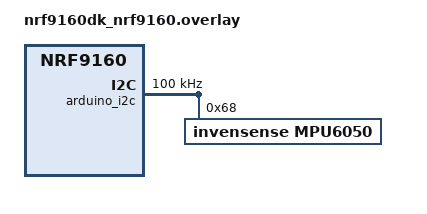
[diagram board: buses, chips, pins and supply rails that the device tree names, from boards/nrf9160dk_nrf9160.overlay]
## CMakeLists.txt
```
cmake_minimum_required(VERSION 3.20.0)

if(DEFINED WEST_PYTHON)
  set(Python3_EXECUTABLE ${WEST_PYTHON} CACHE FILEPATH "Python used by west" FORCE)
endif()

find_package(Zephyr REQUIRED HINTS $ENV{ZEPHYR_BASE})
project(bikeshare_firmware)

target_sources(app PRIVATE
	src/main.c
	src/button.c
	src/channels.c
	src/config.c
	src/shell.c
	src/state.c
	src/led.c
	src/lte.c
	src/mqtt_client.c
	src/sensor.c
	src/gnss.c
	src/telemetry.c
)

target_include_directories(app PRIVATE include)
```

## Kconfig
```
# Copyright (c) 2026 Bikeshare Contributors
#
# SPDX-License-Identifier: Apache-2.0

source "Kconfig.zephyr"

config APP_VERSION
	string "Application version"
	default "0.4.0"
	help
	  Firmware version string reported at boot and used for telemetry.

config BIKE_MQTT_RX_BUFFER_SIZE
	int "MQTT RX buffer size"
	default 512
	help
	  Receive buffer size used by the raw Zephyr MQTT client.

config BIKE_MQTT_TX_BUFFER_SIZE
	int "MQTT TX buffer size"
	default 512
	help
	  Transmit buffer size used by the raw Zephyr MQTT client.

config BIKE_MQTT_PAYLOAD_BUFFER_SIZE
	int "MQTT command payload log buffer size"
	default 256
	help
	  Maximum number of payload bytes copied before logging a command.

config BIKE_MQTT_RECONNECT_INITIAL_MS
	int "MQTT reconnect initial backoff in milliseconds"
	default 5000
	help
	  First retry delay after an MQTT connection attempt or session fails.

config BIKE_MQTT_RECONNECT_MAX_MS
	int "MQTT reconnect maximum backoff in milliseconds"
	default 300000
	help
	  Maximum retry delay while MQTT remains enabled.

config BIKE_MQTT_SECURE_DEFAULT
	bool "Use secure MQTT transport by default"
	default y
	help
	  Prefer TLS MQTT for production broker connections. Port 1883 still
	  forces insecure transport for public broker bring-up.

config BIKE_MQTT_TLS_SEC_TAG
	int "MQTT TLS security tag"
	default 42
	help
	  nRF modem security tag containing the broker CA certificate.

config BIKE_MQTT_THREAD_STACK_SIZE
	int "MQTT worker thread stack size"
	default 4096
	help
	  Stack size for the MQTT socket poll and keepalive worker.

config BIKE_MQTT_THREAD_PRIORITY
	int "MQTT worker thread priority"
	default 7
	help
	  Priority for the MQTT socket poll and keepalive worker.

config BIKE_TELEMETRY_PERIOD_SECONDS
	int "Telemetry publish period in seconds"
	default 10
	help
	  Period used by the telemetry work item to publish samples on zbus.

config BIKE_TELEMETRY_MAX_QUIET_SECONDS
	int "Maximum time without publishing telemetry, in seconds"
	default 0
	help
	  Telemetry publishes once per new GNSS fix and stays quiet in between
	  so the LTE radio can idle and GNSS can re-acquire on shared-radio
	  modems. This caps that quiet time: if no new fix arrives within this
	  many seconds (e.g. indoors), a liveness sample is published anyway so
	  the backend keeps hearing from the bike. Set to 0 to only publish on
	  new fixes (no liveness sample).

config BIKE_GNSS
	bool "Enable best-effort GNSS sampling"
	default n
	depends on NRF_MODEM_LIB
	help
	  Enable direct nRF modem GNSS sampling for nRF9160 targets. The module
	  starts from background work and keeps reporting no-fix telemetry if GNSS
	  cannot start or has not acquired a fix.

config BIKE_GNSS_FIX_MAX_AGE_SECONDS
	int "Maximum age of a retained GNSS fix, in seconds"
	default 60
	depends on BIKE_GNSS
	help
	  Keep reporting the last valid GNSS fix for up to this many seconds
	  when newer samples have no fix, so brief LTE-induced GNSS outages do
	  not flap telemetry between a position and none.

config BIKE_GNSS_FIX_INTERVAL_SECONDS
	int "GNSS fix interval in seconds"
	default 10
	depends on BIKE_GNSS
	help
	  Time between GNSS fixes. Use 1 for continuous navigation mode, or 10
	  or more for periodic navigation mode.

config BIKE_GNSS_FIX_RETRY_SECONDS
	int "GNSS fix retry timeout in seconds"
	default 30
	depends on BIKE_GNSS
	help
	  Maximum time GNSS should search for a fix during each periodic window.

config BIKE_GNSS_LOW_ACCURACY
	bool "Allow low-accuracy GNSS fixes"
	default n
	depends on BIKE_GNSS
	help
	  Allow the modem GNSS stack to report low-accuracy fixes when a normal
	  accuracy fix is not available.

config BIKE_GNSS_PRIORITY_MODE
	bool "Prioritize GNSS over LTE"
	default y
	depends on BIKE_GNSS
	help
	  Enable modem GNSS priority mode so GNSS can get priority over LTE when
	  searching for a fix.
```

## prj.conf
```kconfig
CONFIG_LOG=y
CONFIG_LOG_DEFAULT_LEVEL=3

CONFIG_CONSOLE=y
CONFIG_PRINTK=y
CONFIG_LOG_PRINTK=y

# Shell via UART
CONFIG_SHELL=y
CONFIG_SHELL_BACKEND_SERIAL=y
CONFIG_SHELL_LOG_BACKEND=y

# zbus
CONFIG_ZBUS=y

# JSON command parsing
CONFIG_JSON_LIBRARY=y

# Settings
CONFIG_SETTINGS=y
CONFIG_SETTINGS_RUNTIME=y
```

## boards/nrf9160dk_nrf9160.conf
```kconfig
# nRF9160 DK hardware scaffold.
#
# This configuration mirrors the non-secure board configuration so the
# hardware demo can also run on nrf9160dk/nrf9160 while the NCS/TF-M workspace
# setup is being finalized.

# Hardware shell/log console.
CONFIG_SERIAL=y
CONFIG_UART_CONSOLE=y
CONFIG_SHELL_BACKEND_SERIAL=y

# Board peripherals used by LED, button, and motion modules.
CONFIG_GPIO=y

# GY-521 / MPU-6050 motion sensor on the Arduino I2C header.
CONFIG_I2C=y
CONFIG_SENSOR=y
CONFIG_MPU6050_TRIGGER_NONE=y

# Persistent Settings backend for hardware configuration.
CONFIG_SETTINGS_RUNTIME=n
CONFIG_FLASH=y
CONFIG_FLASH_PAGE_LAYOUT=y
CONFIG_FLASH_MAP=y
CONFIG_NVS=y
CONFIG_SETTINGS_NVS=y
CONFIG_SETTINGS_NVS_SECTOR_COUNT=4
CONFIG_MPU_ALLOW_FLASH_WRITE=y

# Generic network/MQTT libraries for the future hardware transport modules.
CONFIG_NETWORKING=y
CONFIG_NET_IPV4=y
CONFIG_NET_TCP=y
CONFIG_NET_SOCKETS=y
CONFIG_MQTT_LIB=y
CONFIG_MQTT_LIB_TLS=y
CONFIG_TEST_RANDOM_GENERATOR=y
CONFIG_HEAP_MEM_POOL_SIZE=8192
```

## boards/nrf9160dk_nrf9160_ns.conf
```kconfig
# nRF9160 DK hardware target.

# shell & log
CONFIG_SERIAL=y
CONFIG_UART_CONSOLE=y
CONFIG_SHELL_BACKEND_SERIAL=y

# Board peripherals
CONFIG_GPIO=y

# MPU-6050
# CONFIG_I2C=y
# CONFIG_SENSOR=y
# CONFIG_MPU6050_TRIGGER_NONE=y

# Settings
CONFIG_SETTINGS_RUNTIME=n
CONFIG_FLASH=y
CONFIG_FLASH_PAGE_LAYOUT=y
CONFIG_FLASH_MAP=y
CONFIG_NVS=y
CONFIG_SETTINGS_NVS=y
CONFIG_SETTINGS_NVS_SECTOR_COUNT=4
CONFIG_MPU_ALLOW_FLASH_WRITE=y

# LTE
CONFIG_NRF_MODEM_LIB=y
CONFIG_LTE_LINK_CONTROL=y
CONFIG_PDN=y
CONFIG_PDN_ESM_STRERROR=y
CONFIG_MODEM_INFO=y
CONFIG_NET_SOCKETS_OFFLOAD=y
CONFIG_MAIN_STACK_SIZE=4096
CONFIG_SYSTEM_WORKQUEUE_STACK_SIZE=4096
CONFIG_LTE_NETWORK_MODE_LTE_M_GPS=y

# GNSS
CONFIG_BIKE_GNSS=y
CONFIG_MODEM_ANTENNA=y
# Publish once per new fix; if GNSS can't fix, still report every 120 s.
CONFIG_BIKE_TELEMETRY_MAX_QUIET_SECONDS=120

# MQTT libraries
CONFIG_NETWORKING=y
CONFIG_NET_IPV4=y
CONFIG_NET_TCP=y
CONFIG_NET_SOCKETS=y
CONFIG_MQTT_LIB=y
CONFIG_MQTT_LIB_TLS=y
CONFIG_MQTT_KEEPALIVE=300
CONFIG_TEST_RANDOM_GENERATOR=y
CONFIG_HEAP_MEM_POOL_SIZE=16384

# External Antenna
# CONFIG_MODEM_ANTENNA=y #  Use modem antenna library
# CONFIG_MODEM_ANTENNA_GNSS_ONBOARD=n # Disable onboard antenna
# CONFIG_MODEM_ANTENNA_GNSS_EXTERNAL=y # Enable external antenna
# CONFIG_MODEM_ANTENNA_AT_COEX0="AT%XCOEX0" # Disable onboard LNA
```

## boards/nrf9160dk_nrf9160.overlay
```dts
/ {
	chosen {
		zephyr,settings-partition = &storage_partition;
	};
};

&arduino_i2c {
	status = "okay";
	clock-frequency = <I2C_BITRATE_STANDARD>;

	mpu6050@68 {
		compatible = "invensense,mpu6050";
		reg = <0x68>;
		status = "okay";
	};
};
```

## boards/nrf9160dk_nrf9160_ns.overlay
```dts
/ {
	chosen {
		zephyr,settings-partition = &storage_partition;
	};
};

&arduino_i2c {
	status = "okay";
	clock-frequency = <I2C_BITRATE_STANDARD>;

	mpu6050@68 {
		compatible = "invensense,mpu6050";
		reg = <0x68>;
		status = "disabled";
	};
};
```

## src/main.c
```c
/*
 * Copyright (c) 2026 Bikeshare Contributors
 *
 * SPDX-License-Identifier: Apache-2.0
 */

/**
 * @file
 * @brief Application entry point.
 *
 * @authors ruantmelo@gmail.com & vcn0510@gmail.com
 */

#include <zephyr/kernel.h>
#include <zephyr/logging/log.h>
#include <zephyr/sys/printk.h>

#include "button.h"
#include "config.h"
#include "gnss.h"
#include "led.h"
#include "lte.h"
#include "mqtt_client.h"
#include "sensor.h"
#include "state.h"
#include "telemetry.h"

LOG_MODULE_REGISTER(bikeshare, LOG_LEVEL_INF);

static void print_bike_banner(void);

int main(void)
{
	print_bike_banner();
	LOG_INF("Version: %s", CONFIG_APP_VERSION);

	/* Initialize modules */
	bike_config_init();
	bike_lte_init();
	bike_mqtt_init();
	bike_gnss_init();
	led_status_init();
	button_input_init();
	bike_state_init();
	bike_telemetry_init();
	motion_sensor_init();

	if (bike_config_is_valid(bike_config_get())) {
		(void)bike_lte_connect();
		(void)bike_mqtt_connect();
	}

	return 0;
}

static void print_bike_banner(void)
{
	printk("\n");
	printk("⠀⠀⠀⠀⠀⠀⠀⠀⠀⠛⠻⠗⢶⣶⣶⣦⣀⡀⠀⠀⠀⠀⠀⠀⠀⠀\n");
	printk("⠀⠀⠀⠀⣀⡀⣤⡄⠀⠀⠀⠀⢸⠟⡄⠀⠘⠉⠛⠀⠀⠀⠀⠀⠀⠀\n");
	printk("⠀⠀⠀⠀⠉⢻⠇⠀⠀⠀⡀⢴⠝⣄⣷⣀⠀⠀⠀ bikeshare.\n");
	printk("⠀⠀⠀⠀⠀⠈⣦⠀⡠⡪⢲⠃⡜⢉⣧⣿⣧⣤⣤⣤⣄⡀⠀⠀⠀⠀\n");
	printk("⠀⢀⣠⣴⣤⣴⣿⡕⠈⡠⣡⠌⠀⣼⢿⠿⢿⡏⠉⠛⠻⣿⣷⣤⠀⠀\n");
	printk("⢠⡾⠁⡴⠋⢿⣷⠃⡔⣱⠃⢀⣾⡟⢻⡆⠘⣷⠀⠀⠀⠀⠻⣿⣷⡀\n");
	printk("⣸⢁⣾⣅⣀⡜⢻⡜⡠⠁⠀⣼⣿⠀⠘⣿⣴⣻⡶⡄⠀⠀⠀⢹⣿⣧\n");
	printk("⢻⡘⢻⠀⠈⣿⣿⠗⠉⠀⠀⢿⣇⠀⠀⠈⣿⠛⢃⡇⠀⠀⠀⢸⣿⣿\n");
	printk("⠈⢷⣧⣨⣾⣯⡿⠀⠀⠀⠀⠸⣿⡄⠀⠀⠈⠉⠉⠀⠀⠀⢀⣿⣿⡏\n");
	printk("⠀⠀⠈⠉⠀⠀⠀⠀⠀⠀⠀⠀⠹⣿⣦⣀⠀⠀⠀⠀⢀⣠⣿⣿⠟⠀\n");
	printk("⠀⠀⠀⠀⠀⠀⠀⠀⠀⠀⠀⠀⠀⠈⠙⠿⣿⣶⣶⣿⣿⠿⠛⠁⠀⠀\n");
	printk("\n");
}
```

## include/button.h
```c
/*
 * Copyright (c) 2026 Bikeshare Contributors
 *
 * SPDX-License-Identifier: Apache-2.0
 */

/**
 * @file
 * @brief Physical button input handling.
 *
 * Debounces the physical button (devicetree alias `sw0`) and publishes
 * press events on @ref button_event_chan.
 */

#pragma once

#include <stdint.h>

/** Minimum time between two accepted button presses, in milliseconds. */
#define BUTTON_INPUT_DEBOUNCE_MS 200

/**
 * @brief Initialize the button input module.
 *
 * Configures the GPIO interrupt for the physical button, if available in
 * the devicetree. If no button is available, the module still initializes
 * successfully but never publishes press events on its own.
 *
 * @retval 0 on success.
 * @retval -ENODEV if the configured GPIO device is not ready.
 * @return Negative errno code on other failures.
 */
int button_input_init(void);

/**
 * @brief Publish a button press event, bypassing debounce.
 *
 * @param uptime_ms Timestamp of the press, in milliseconds since boot.
 *
 * @return 0 on success, negative errno code on failure.
 */
int button_input_publish_press(int64_t uptime_ms);

/**
 * @brief Publish a button press event, applying debounce.
 *
 * Presses that occur less than @ref BUTTON_INPUT_DEBOUNCE_MS after the
 * last accepted press are rejected.
 *
 * @param uptime_ms Timestamp of the press, in milliseconds since boot.
 *
 * @retval 0 on success.
 * @retval -EALREADY if the press was rejected due to debounce.
 * @return Negative errno code on other failures.
 */
int button_input_publish_press_debounced(int64_t uptime_ms);

/**
 * @brief Reset the debounce timer.
 *
 * The next call to button_input_publish_press_debounced() is guaranteed
 * to be accepted regardless of timing.
 */
void button_input_reset_debounce(void);
```

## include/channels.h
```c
/*
 * Copyright (c) 2026 Bikeshare Contributors
 *
 * SPDX-License-Identifier: Apache-2.0
 */

/**
 * @file
 * @brief zbus channel and message definitions shared across the app.
 */

#pragma once

#include <stdbool.h>
#include <stdint.h>

#include <zephyr/zbus/zbus.h>

#include "config.h"
#include "state.h"

/** Maximum length, including the terminator, of a rental ID string. */
#define BIKE_RENTAL_ID_MAX_LEN 32

/** Backend commands carried by @ref backend_command_chan. */
enum bike_backend_command_type {
	BIKE_BACKEND_RENT_AUTHORIZE,
	BIKE_BACKEND_RENT_CANCEL,
};

/** State transition events that can be surfaced to the backend. */
enum bike_state_event {
	BIKE_STATE_EVENT_NONE,
	BIKE_STATE_EVENT_BICYCLE_ONLINE,
	BIKE_STATE_EVENT_RESERVATION_EXPIRED,
	BIKE_STATE_EVENT_RIDE_STARTED,
	BIKE_STATE_EVENT_RIDE_ENDED,
};

/** Message published on @ref button_event_chan for each button press. */
struct bike_button_event_msg {
	/** Timestamp of the press, in milliseconds since boot. */
	int64_t uptime_ms;
};

/** Message published on @ref backend_command_chan. */
struct bike_backend_command_msg {
	/** Command requested by the backend. */
	enum bike_backend_command_type type;
	/** Rental ID the command applies to. */
	char rental_id[BIKE_RENTAL_ID_MAX_LEN];
};

/** Message published on @ref bike_state_chan whenever the state changes. */
struct bike_state_msg {
	/** New state value. */
	enum bike_state_value state;
	/** Backend-facing event associated with this transition, if any. */
	enum bike_state_event event;
	/** Rental ID associated with the state, empty if there is none. */
	char rental_id[BIKE_RENTAL_ID_MAX_LEN];
	/** Timestamp of the transition, in milliseconds since boot. */
	int64_t updated_at_ms;
};

/** Message published on @ref telemetry_sample_chan. */
struct telemetry_sample_msg {
	/** Bike identifier. */
	char bike_id[BIKE_ID_MAX_LEN];
	/** Bike state at the time of the sample. */
	enum bike_state_value state;
	/** Rental ID associated with the sample, empty if there is none. */
	char rental_id[BIKE_RENTAL_ID_MAX_LEN];
	/** Timestamp of the sample, in milliseconds since boot. */
	int64_t uptime_ms;
	/** True if speed is available. */
	bool speed_valid;
	/** Ground speed in milli-m/s when @ref speed_valid is true. */
	int32_t speed_milli_m_s;
	/** True if the GNSS fix backing this sample is valid. */
	bool gnss_fix_valid;
	/** Latitude in microdegrees when @ref gnss_fix_valid is true. */
	int32_t gnss_latitude_microdegrees;
	/** Longitude in microdegrees when @ref gnss_fix_valid is true. */
	int32_t gnss_longitude_microdegrees;
	/** Altitude above WGS-84 ellipsoid in millimeters when valid. */
	int32_t gnss_altitude_mm;
	/** Horizontal accuracy in millimeters when valid, or 0 if unknown. */
	uint32_t gnss_accuracy_mm;
	/** True if the motion sample backing this sample is valid. */
	bool motion_valid;
	/** True if the motion sample indicates the bike is moving. */
	bool motion_moving;
	/** Acceleration on each axis, in milli-m/s^2. */
	int32_t motion_accel_milli_ms2[3];
	/** Angular velocity on each axis, in milli-rad/s. */
	int32_t motion_gyro_milli_rad_s[3];
	/** Die temperature, in milli-degrees Celsius. */
	int32_t motion_temp_milli_c;
};

/** Published on each debounced physical button press. */
ZBUS_CHAN_DECLARE(button_event_chan);
/** Published by the backend to request rental authorization or cancellation. */
ZBUS_CHAN_DECLARE(backend_command_chan);
/** Published on every bike state transition. */
ZBUS_CHAN_DECLARE(bike_state_chan);
/** Published with periodic telemetry samples. */
ZBUS_CHAN_DECLARE(telemetry_sample_chan);
```

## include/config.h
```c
/*
 * Copyright (c) 2026 Bikeshare Contributors
 *
 * SPDX-License-Identifier: Apache-2.0
 */

/**
 * @file
 * @brief Persistent bike configuration.
 *
 * Stores the bike identity, backend credentials and MQTT/APN settings
 * in the Zephyr settings subsystem, under the "bike" key.
 */

#pragma once

#include <stdbool.h>
#include <stdint.h>

/** Maximum length, including the terminator, of the bike ID string. */
#define BIKE_ID_MAX_LEN             32
/** Maximum length, including the terminator, of the device token string. */
#define BIKE_DEVICE_TOKEN_MAX_LEN   128
/** Maximum length, including the terminator, of the MQTT host string. */
#define BIKE_MQTT_HOST_MAX_LEN      128
/** Maximum length, including the terminator, of the MQTT port string form. */
#define BIKE_MQTT_PORT_MAX_LEN      6
/** Maximum length, including the terminator, of the APN string. */
#define BIKE_APN_MAX_LEN            64

/** Persistent bike configuration. */
struct bike_config {
	/** Bike identifier. */
	char id[BIKE_ID_MAX_LEN];
	/** Authentication token used with the backend. */
	char device_token[BIKE_DEVICE_TOKEN_MAX_LEN];
	/** Hostname or IP address of the MQTT broker. */
	char mqtt_host[BIKE_MQTT_HOST_MAX_LEN];
	/** TCP port of the MQTT broker. */
	uint16_t mqtt_port;
	/** APN used for the cellular connection. */
	char apn[BIKE_APN_MAX_LEN];
};

/**
 * @brief Initialize the configuration module.
 *
 * Initializes the settings subsystem and loads any previously saved
 * configuration values.
 *
 * @return 0 on success, negative errno code on failure.
 */
int bike_config_init(void);

/**
 * @brief Get a read-only pointer to the current configuration.
 *
 * @return Pointer to the current configuration.
 */
const struct bike_config *bike_config_get(void);

/**
 * @brief Get the configured bike ID.
 *
 * @return Pointer to the bike ID string, empty if unset.
 */
const char *bike_config_get_id(void);

/**
 * @brief Get the configured device token.
 *
 * @return Pointer to the device token string, empty if unset.
 */
const char *bike_config_get_device_token(void);

/**
 * @brief Get the configured MQTT broker host.
 *
 * @return Pointer to the MQTT host string, empty if unset.
 */
const char *bike_config_get_mqtt_host(void);

/**
 * @brief Get the configured MQTT broker port.
 *
 * @return MQTT port, 0 if unset.
 */
uint16_t bike_config_get_mqtt_port(void);

/**
 * @brief Get the configured APN.
 *
 * @return Pointer to the APN string, empty if unset.
 */
const char *bike_config_get_apn(void);

/**
 * @brief Check whether a configuration has every required field set.
 *
 * @param config Configuration to validate.
 *
 * @return true if @p config is non-NULL and fully populated, false
 *         otherwise.
 */
bool bike_config_is_valid(const struct bike_config *config);

/**
 * @brief Parse and validate an MQTT port string.
 *
 * @param value String to parse, must contain only decimal digits.
 * @param port  Destination for the parsed port. Must not be NULL.
 *
 * @retval 0 on success.
 * @retval -EINVAL if @p value is missing or not a valid port number.
 */
int bike_config_parse_mqtt_port(const char *value, uint16_t *port);

/**
 * @brief Set and persist the bike ID.
 *
 * @param id New bike ID. Must be non-empty and fit within
 *           @ref BIKE_ID_MAX_LEN.
 *
 * @return 0 on success, negative errno code on failure.
 */
int bike_config_set_id(const char *id);

/**
 * @brief Set and persist the device token.
 *
 * @param token New device token. Must be non-empty and fit within
 *              @ref BIKE_DEVICE_TOKEN_MAX_LEN.
 *
 * @return 0 on success, negative errno code on failure.
 */
int bike_config_set_device_token(const char *token);

/**
 * @brief Set and persist the MQTT broker host.
 *
 * @param host New MQTT host. Must be non-empty and fit within
 *             @ref BIKE_MQTT_HOST_MAX_LEN.
 *
 * @return 0 on success, negative errno code on failure.
 */
int bike_config_set_mqtt_host(const char *host);

/**
 * @brief Set and persist the MQTT broker port.
 *
 * @param port New MQTT port, must be non-zero.
 *
 * @return 0 on success, negative errno code on failure.
 */
int bike_config_set_mqtt_port(uint16_t port);

/**
 * @brief Set and persist the APN.
 *
 * @param apn New APN. Must be non-empty and fit within
 *            @ref BIKE_APN_MAX_LEN.
 *
 * @return 0 on success, negative errno code on failure.
 */
int bike_config_set_apn(const char *apn);
```

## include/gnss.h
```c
/*
 * Copyright (c) 2026 Bikeshare Contributors
 *
 * SPDX-License-Identifier: Apache-2.0
 */

/**
 * @file
 * @brief Best-effort GNSS fix cache.
 */

#pragma once

#include <stdbool.h>
#include <stdint.h>

/* Single fallback shared by gnss.c and tests built without CONFIG_BIKE_GNSS. */
#ifndef CONFIG_BIKE_GNSS_FIX_MAX_AGE_SECONDS
#define CONFIG_BIKE_GNSS_FIX_MAX_AGE_SECONDS 60
#endif

/** Latest cached GNSS status and fix. */
struct bike_gnss_fix {
	/** True when the target includes modem GNSS support. */
	bool supported;
	/** True after the background GNSS start path succeeds. */
	bool running;
	/** True when latitude, longitude, and altitude contain a valid fix. */
	bool valid;
	/**
	 * True when this is a previous fix retained because newer samples
	 * have no fix; uptime_ms then dates the original fix, and running
	 * and last_error do not reflect the receiver's current health.
	 */
	bool retained;
	/** Timestamp of the cached status, in milliseconds since boot. */
	int64_t uptime_ms;
	/** Latitude in microdegrees when @ref valid is true. */
	int32_t latitude_microdegrees;
	/** Longitude in microdegrees when @ref valid is true. */
	int32_t longitude_microdegrees;
	/** Altitude above WGS-84 ellipsoid in millimeters when valid. */
	int32_t altitude_mm;
	/** Horizontal accuracy in millimeters when valid, or 0 if unknown. */
	uint32_t accuracy_mm;
	/** Ground speed in milli-m/s when valid. */
	int32_t speed_milli_m_s;
	/** Number of satellites used in the latest valid fix. */
	uint8_t satellites_used;
	/** Last GNSS API error, or 0 when the latest operation succeeded. */
	int last_error;
};

/**
 * @brief Initialize GNSS sampling.
 *
 * Starts the modem GNSS path from background work when supported. Unsupported
 * targets remain initialized with an explicit no-fix status.
 */
void bike_gnss_init(void);

/**
 * @brief Retrieve the latest cached GNSS status.
 *
 * @param fix Destination for the latest cached status. Must not be NULL.
 *
 * @return true if @p fix contains a valid position fix, false otherwise.
 */
bool bike_gnss_get_latest(struct bike_gnss_fix *fix);

/**
 * @brief Store a GNSS status sample.
 *
 * This helper is public so tests can exercise telemetry transitions without
 * real modem hardware.
 */
void bike_gnss_store_fix(const struct bike_gnss_fix *fix);
```

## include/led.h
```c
/*
 * Copyright (c) 2026 Bikeshare Contributors
 *
 * SPDX-License-Identifier: Apache-2.0
 */

/**
 * @file
 * @brief LED status indicator.
 *
 * Drives the status LED (devicetree alias `led0`) with a pattern derived
 * from the current @ref bike_state_value.
 */

#pragma once

#include "state.h"

/** Blink/solid patterns the status LED can display. */
enum led_status_pattern {
	LED_STATUS_OFF,
	LED_STATUS_SOLID_ON,
	LED_STATUS_BLINK_SLOW,
	LED_STATUS_BLINK_FAST,
	LED_STATUS_CHASE,
	LED_STATUS_ERROR,
};

/**
 * @brief Initialize the LED status module.
 *
 * Configures the status LED GPIO, if available in the devicetree, and
 * applies the pattern matching the current bike state.
 *
 * @retval 0 on success.
 * @retval -ENODEV if the configured GPIO device is not ready.
 * @return Negative errno code on other failures.
 */
int led_status_init(void);

/**
 * @brief Map a bike state to its corresponding LED pattern.
 *
 * @param state Bike state to map.
 *
 * @return LED pattern associated with @p state.
 */
enum led_status_pattern led_status_pattern_for_state(enum bike_state_value state);

/**
 * @brief Get the LED pattern currently being displayed.
 *
 * @return Current LED pattern.
 */
enum led_status_pattern led_status_get_pattern(void);

/**
 * @brief Check whether the status LED is currently lit.
 *
 * @return true if the LED is on, false otherwise.
 */
bool led_status_is_on(void);

/**
 * @brief Get the human-readable name of an LED pattern.
 *
 * @param pattern Pattern to describe.
 *
 * @return Static string naming @p pattern.
 */
const char *led_status_pattern_name(enum led_status_pattern pattern);
```

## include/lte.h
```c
/*
 * Copyright (c) 2026 Bikeshare Contributors
 *
 * SPDX-License-Identifier: Apache-2.0
 */

/**
 * @file
 * @brief LTE modem bring-up and diagnostics.
 */

#pragma once

#include <stdbool.h>
#include <stdint.h>

#include "config.h"

/** Network registration state, mapped from the modem's registration status. */
enum bike_lte_registration {
	/** Not registered and not currently searching for a network. */
	BIKE_LTE_REG_NOT_REGISTERED,
	/** Actively searching for a network to attach to. */
	BIKE_LTE_REG_SEARCHING,
	/** Registered on the home network. */
	BIKE_LTE_REG_REGISTERED_HOME,
	/** Registered while roaming. */
	BIKE_LTE_REG_REGISTERED_ROAMING,
	/** Network refused the registration attempt. */
	BIKE_LTE_REG_DENIED,
	/** SIM/UICC failure prevented registration. */
	BIKE_LTE_REG_UICC_FAIL,
	/** Registration status could not be determined. */
	BIKE_LTE_REG_UNKNOWN,
};

/** Active radio access technology reported by the modem. */
enum bike_lte_mode {
	/** No access technology active (detached). */
	BIKE_LTE_MODE_NONE,
	/** LTE-M (LTE Cat-M1). */
	BIKE_LTE_MODE_LTEM,
	/** NB-IoT. */
	BIKE_LTE_MODE_NBIOT,
	/** Access technology could not be determined. */
	BIKE_LTE_MODE_UNKNOWN,
};

/** Latest cached LTE modem status. */
struct bike_lte_status {
	/** True when the target includes modem LTE support. */
	bool supported;
	/** True after bike_lte_init() has completed successfully. */
	bool initialized;
	/** True while attach is in progress but not yet fully connected. */
	bool connecting;
	/** True when registered (home or roaming) and the PDN is active. */
	bool connected;
	/** True when the default packet data network context is active. */
	bool pdn_active;
	/** Current network registration state. */
	enum bike_lte_registration registration;
	/** Current radio access technology. */
	enum bike_lte_mode mode;
	/** Configured access point name, empty when the default APN is used. */
	char apn[BIKE_APN_MAX_LEN];
	/** Last modem/API error, or 0 when the latest operation succeeded. */
	int last_error;
	/** Serving cell identifier from the most recent cell update. */
	uint32_t cell_id;
	/** Tracking area code from the most recent cell update. */
	uint32_t tac;
};

/**
 * @brief Initialize the LTE modem.
 *
 * Initializes the nRF modem library and registers the network and default
 * PDN event handlers. Safe to call more than once; later calls are no-ops.
 *
 * @return 0 on success, -ENOTSUP when the target lacks LTE support, or a
 *         negative errno on modem initialization failure.
 */
int bike_lte_init(void);

/**
 * @brief Start connecting to the LTE network.
 *
 * Initializes the modem if needed, applies the configured APN, and starts
 * an asynchronous network attach. Returns once the attach has been started;
 * completion is reported asynchronously via bike_lte_status_get(). A no-op
 * that returns success when already connected or connecting.
 *
 * @return 0 on success, -ENOTSUP when the target lacks LTE support, or a
 *         negative errno on failure.
 */
int bike_lte_connect(void);

/**
 * @brief Disconnect from the LTE network.
 *
 * Sets the modem to offline (functional mode) and clears the connection
 * state. Safe to call when not initialized.
 *
 * @return 0 on success, -ENOTSUP when the target lacks LTE support, or a
 *         negative errno on failure.
 */
int bike_lte_disconnect(void);

/**
 * @brief Retrieve the latest cached LTE status.
 *
 * @param status Destination for the current status. Ignored when NULL.
 */
void bike_lte_status_get(struct bike_lte_status *status);

/**
 * @brief Return a human-readable name for a registration state.
 *
 * @param registration Registration state to name.
 *
 * @return Static, null-terminated string; never NULL.
 */
const char *bike_lte_registration_name(enum bike_lte_registration registration);

/**
 * @brief Return a human-readable name for a radio access technology.
 *
 * @param mode Access technology to name.
 *
 * @return Static, null-terminated string; never NULL.
 */
const char *bike_lte_mode_name(enum bike_lte_mode mode);
```

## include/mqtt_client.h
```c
/*
 * Copyright (c) 2026 Bikeshare Contributors
 *
 * SPDX-License-Identifier: Apache-2.0
 */

/**
 * @file
 * @brief MQTT client bring-up and diagnostics.
 */

#pragma once

#include <stdbool.h>
#include <stdint.h>
#include <stddef.h>

#include "channels.h"
#include "config.h"

#define BIKE_MQTT_TOPIC_MAX_LEN 96

struct bike_mqtt_status {
	bool supported;
	bool initialized;
	bool enabled;
	bool connecting;
	bool connected;
	bool subscribed;
	bool secure;
	char broker_host[BIKE_MQTT_HOST_MAX_LEN];
	uint16_t broker_port;
	char command_topic[BIKE_MQTT_TOPIC_MAX_LEN];
	char telemetry_topic[BIKE_MQTT_TOPIC_MAX_LEN];
	char event_topic[BIKE_MQTT_TOPIC_MAX_LEN];
	int last_error;
	int disconnect_reason;
	uint32_t rx_count;
	uint32_t parse_error_count;
	uint32_t publish_count;
	uint32_t publish_error_count;
	uint32_t reconnect_count;
};

/**
 * @brief Initialize MQTT diagnostics state.
 *
 * This does not open a socket or start an automatic broker connection.
 *
 * @retval 0 on success.
 * @retval -ENOTSUP if MQTT socket support is not built in.
 */
int bike_mqtt_init(void);

/**
 * @brief Enable MQTT and request a broker connection.
 *
 * The worker connects only after the bike configuration is valid and LTE is
 * ready, when LTE support is present. A later broker disconnect is retried
 * with bounded backoff while MQTT remains enabled.
 *
 * @retval 0 on success or if a connection attempt is already active.
 * @retval -EINVAL if the bike configuration is incomplete.
 * @retval -ENOTSUP if MQTT socket support is not built in.
 */
int bike_mqtt_connect(void);

/**
 * @brief Disable MQTT and disconnect the active session.
 *
 * This is the manual-debug counterpart to @ref bike_mqtt_connect. It stops
 * reconnect attempts until MQTT is enabled again.
 *
 * @retval 0 on success or when no session is active.
 * @retval -ENOTSUP if MQTT socket support is not built in.
 * @return Negative errno from the MQTT stack on disconnect failure.
 */
int bike_mqtt_disconnect(void);

/**
 * @brief Probe plain TCP reachability to the configured MQTT broker.
 *
 * This intentionally skips TLS and MQTT. A successful probe means the modem
 * can open a TCP connection to the configured host and port.
 *
 * @retval 0 on successful TCP connect.
 * @retval -EINVAL if the broker host or port is not configured.
 * @retval -ENETUNREACH if LTE is not ready for sockets.
 * @retval -ENOTSUP if MQTT socket support is not built in.
 * @return Negative errno from DNS, socket creation, or TCP connect failure.
 */
int bike_mqtt_tcp_probe(void);

/**
 * @brief Copy the current MQTT status snapshot.
 *
 * @param status Destination for the copied status. NULL is ignored.
 */
void bike_mqtt_status_get(struct bike_mqtt_status *status);

/**
 * @brief Convert a stored MQTT error or errno value into a shell label.
 *
 * @param error Value from @ref bike_mqtt_status::last_error or
 *              @ref bike_mqtt_status::disconnect_reason.
 *
 * @return Static string naming the reason.
 */
const char *bike_mqtt_error_name(int error);

/**
 * @brief Build the backend command subscription topic for a bike.
 *
 * @param bike_id Configured bike identifier.
 * @param topic Destination buffer.
 * @param topic_len Size of @p topic in bytes.
 *
 * @retval 0 on success.
 * @retval -EINVAL if an argument is missing.
 * @retval -ENAMETOOLONG if @p topic is too small.
 */
int bike_mqtt_build_command_topic(const char *bike_id, char *topic,
				  size_t topic_len);

/**
 * @brief Build the telemetry publication topic for a bike.
 *
 * @param bike_id Configured bike identifier.
 * @param topic Destination buffer.
 * @param topic_len Size of @p topic in bytes.
 *
 * @retval 0 on success.
 * @retval -EINVAL if an argument is missing.
 * @retval -ENAMETOOLONG if @p topic is too small.
 */
int bike_mqtt_build_telemetry_topic(const char *bike_id, char *topic,
				    size_t topic_len);

/**
 * @brief Build the event publication topic for a bike.
 *
 * @param bike_id Configured bike identifier.
 * @param topic Destination buffer.
 * @param topic_len Size of @p topic in bytes.
 *
 * @retval 0 on success.
 * @retval -EINVAL if an argument is missing.
 * @retval -ENAMETOOLONG if @p topic is too small.
 */
int bike_mqtt_build_event_topic(const char *bike_id, char *topic,
				size_t topic_len);

/**
 * @brief Decode a backend command JSON payload.
 *
 * Supported payloads are compact JSON objects with `protocolVersion` set to
 * 1, `type` set to `rent_authorize` or `rent_cancel`, and a non-empty
 * `rental_id`.
 *
 * @param payload Mutable JSON buffer. Zephyr's JSON parser stores pointers
 *                into this buffer.
 * @param payload_len Number of bytes in @p payload.
 * @param msg Destination backend command message.
 *
 * @retval 0 on success.
 * @retval -EINVAL if required fields are missing.
 * @retval -ENAMETOOLONG if `rental_id` does not fit the zbus message.
 * @retval -ENOTSUP if the command type is unknown.
 * @return Negative parser error from the Zephyr JSON parser.
 */
int bike_mqtt_parse_command(char *payload, size_t payload_len,
			    struct bike_backend_command_msg *msg);

/**
 * @brief Parse a command payload and publish it to backend_command_chan.
 *
 * Invalid payloads update MQTT parse diagnostics and are not forwarded to the
 * state machine.
 *
 * @param payload Mutable JSON buffer.
 * @param payload_len Number of bytes in @p payload.
 *
 * @retval 0 on success.
 * @return Negative error from parsing or zbus publication.
 */
int bike_mqtt_handle_command_payload(char *payload, size_t payload_len);

/**
 * @brief Format a compact JSON telemetry publication.
 *
 * @param sample Telemetry sample to encode.
 * @param payload Destination buffer.
 * @param payload_len Size of @p payload in bytes.
 *
 * @return Number of bytes written, excluding the terminator.
 * @retval -EINVAL if an argument is missing.
 * @retval -ENAMETOOLONG if @p payload is too small.
 */
int bike_mqtt_format_telemetry_json(const struct telemetry_sample_msg *sample,
				    char *payload, size_t payload_len);

/**
 * @brief Format a compact JSON state event publication.
 *
 * @param msg State message to encode.
 * @param payload Destination buffer.
 * @param payload_len Size of @p payload in bytes.
 *
 * @return Number of bytes written, excluding the terminator.
 * @retval -EINVAL if an argument is missing.
 * @retval -ENAMETOOLONG if @p payload is too small.
 */
int bike_mqtt_format_state_event_json(const struct bike_state_msg *msg,
				      char *payload, size_t payload_len);

/**
 * @brief Format a compact JSON command rejection event.
 *
 * @param command Rejected command type string.
 * @param reason Protocol reason string.
 * @param payload Destination buffer.
 * @param payload_len Size of @p payload in bytes.
 *
 * @return Number of bytes written, excluding the terminator.
 * @retval -EINVAL if an argument is missing.
 * @retval -ENAMETOOLONG if @p payload is too small.
 */
int bike_mqtt_format_command_rejected_json(const char *command,
					   const char *reason,
					   char *payload,
					   size_t payload_len);
```

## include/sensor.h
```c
/*
 * Copyright (c) 2026 Bikeshare Contributors
 *
 * SPDX-License-Identifier: Apache-2.0
 */

/**
 * @file
 * @brief Motion sensor (MPU6050) sampling.
 *
 * Periodically samples the MPU6050 accelerometer/gyroscope, when present
 * in the devicetree, and caches the latest reading for retrieval.
 */

#pragma once

#include <stdbool.h>
#include <stdint.h>

/** Latest cached reading from the motion sensor. */
struct motion_sensor_sample {
	/** True if the sample was ever successfully populated. */
	bool valid;
	/** True if the sample indicates the bike is in motion. */
	bool moving;
	/** Timestamp of the sample, in milliseconds since boot. */
	int64_t uptime_ms;
	/** Acceleration on each axis, in milli-m/s^2. */
	int32_t accel_milli_ms2[3];
	/** Angular velocity on each axis, in milli-rad/s. */
	int32_t gyro_milli_rad_s[3];
	/** Die temperature, in milli-degrees Celsius. */
	int32_t die_temp_milli_c;
};

/**
 * @brief Initialize the motion sensor module.
 *
 * Starts periodic sampling if the MPU6050 is present and ready in the
 * devicetree; otherwise the module stays idle and
 * motion_sensor_get_latest() always reports an invalid sample.
 */
void motion_sensor_init(void);

/**
 * @brief Retrieve the latest cached motion sensor sample.
 *
 * @param sample Destination for the latest sample. Must not be NULL.
 *
 * @return true if @p sample was populated with a valid reading, false
 *         otherwise.
 */
bool motion_sensor_get_latest(struct motion_sensor_sample *sample);
```

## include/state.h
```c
/*
 * Copyright (c) 2026 Bikeshare Contributors
 *
 * SPDX-License-Identifier: Apache-2.0
 */

/**
 * @file
 * @brief Bike rental state machine.
 *
 * Tracks the bike's rental lifecycle (unregistered/available/reserved/
 * in-use/error) and reacts to backend commands and button presses
 * published on the zbus channels declared in channels.h.
 */

#pragma once

#include <stdbool.h>

/** Seconds a reservation is held before automatically expiring. */
#define BIKE_RESERVATION_TIMEOUT_SECONDS 60

/** Rental lifecycle states of the bike. */
enum bike_state_value {
	BIKE_STATE_UNREGISTERED,
	BIKE_STATE_AVAILABLE,
	BIKE_STATE_RESERVED,
	BIKE_STATE_IN_USE,
	BIKE_STATE_ERROR,
};

/**
 * @brief Initialize the bike state machine.
 *
 * Sets the initial state based on whether the current configuration is
 * valid, and publishes it on @ref bike_state_chan.
 *
 * @return 0 on success.
 */
int bike_state_init(void);

/**
 * @brief Get the current bike state.
 *
 * @return Current state value.
 */
enum bike_state_value bike_state_get(void);

/**
 * @brief Get the rental ID of the active reservation or trip.
 *
 * @return Pointer to the rental ID string, empty if there is none.
 */
const char *bike_state_get_rental_id(void);

/**
 * @brief Get the human-readable name of a state value.
 *
 * @param state State to describe.
 *
 * @return Static string naming @p state.
 */
const char *bike_state_name(enum bike_state_value state);

/**
 * @brief Re-evaluate the state after a configuration change.
 *
 * Moves between BIKE_STATE_UNREGISTERED and BIKE_STATE_AVAILABLE
 * depending on configuration validity. Has no effect while a rental is
 * reserved, in use, or in error.
 *
 * @return 0 on success.
 */
int bike_state_refresh_config(void);

/**
 * @brief Authorize a rental reservation.
 *
 * Only accepted while the bike is BIKE_STATE_AVAILABLE; transitions it
 * to BIKE_STATE_RESERVED and arms the reservation timeout.
 *
 * @param rental_id Rental identifier to associate with the reservation.
 *
 * @retval 0 on success.
 * @retval -EINVAL if @p rental_id is missing or too long.
 * @retval -EACCES if the bike is not currently available.
 */
int bike_state_authorize(const char *rental_id);

/**
 * @brief Cancel a reserved rental or active trip.
 *
 * Only accepted while the bike is BIKE_STATE_RESERVED or BIKE_STATE_IN_USE
 * and, if @p rental_id is given, matches the active rental.
 *
 * @param rental_id Rental identifier to cancel, or NULL/empty to cancel
 *                  the active reservation unconditionally.
 *
 * @retval 0 on success.
 * @retval -EINVAL if @p rental_id does not match the active rental.
 * @retval -EACCES if the bike does not have an active rental.
 */
int bike_state_cancel(const char *rental_id);

/**
 * @brief Handle a physical button press.
 *
 * Starts a trip when reserved, or ends the active trip when in use.
 *
 * @retval 0 on success.
 * @retval -EACCES if the button press is not valid in the current state.
 */
int bike_state_button_press(void);

/**
 * @brief Check whether the current configuration is valid.
 *
 * @return true if the configuration is valid, false otherwise.
 */
bool bike_state_is_config_valid(void);
```

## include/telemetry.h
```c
/*
 * Copyright (c) 2026 Bikeshare Contributors
 *
 * SPDX-License-Identifier: Apache-2.0
 */

/**
 * @file
 * @brief Periodic telemetry sample publication.
 */

#pragma once

#include <stdint.h>

#include "channels.h"
#include "gnss.h"
#include "sensor.h"

/** Initialize and start periodic telemetry publication. */
void bike_telemetry_init(void);

/**
 * @brief Fill a telemetry sample from explicit inputs.
 *
 * This isolates the testable formatting/copying logic from the periodic work
 * item and from GNSS hardware availability.
 */
void bike_telemetry_fill_sample(struct telemetry_sample_msg *sample,
				const char *bike_id,
				enum bike_state_value state,
				const char *rental_id,
				int64_t uptime_ms,
				const struct bike_gnss_fix *gnss,
				const struct motion_sensor_sample *motion);
```

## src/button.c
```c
/*
 * Copyright (c) 2026 Bikeshare Contributors
 *
 * SPDX-License-Identifier: Apache-2.0
 */

#include <errno.h>

#include <zephyr/devicetree.h>
#include <zephyr/kernel.h>
#include <zephyr/logging/log.h>
#include <zephyr/zbus/zbus.h>

#include "channels.h"
#include "button.h"

#if defined(CONFIG_GPIO) && DT_NODE_HAS_STATUS(DT_ALIAS(sw0), okay)
#include <zephyr/drivers/gpio.h>
#define BUTTON_INPUT_HAS_GPIO 1
#else
#define BUTTON_INPUT_HAS_GPIO 0
#endif

LOG_MODULE_REGISTER(button_input, LOG_LEVEL_INF);

#if BUTTON_INPUT_HAS_GPIO
static const struct gpio_dt_spec button = GPIO_DT_SPEC_GET(DT_ALIAS(sw0), gpios);
static struct gpio_callback button_cb;
#endif

static struct k_work button_work;
static int64_t last_published_press_ms = -BUTTON_INPUT_DEBOUNCE_MS;

int button_input_publish_press(int64_t uptime_ms)
{
	struct bike_button_event_msg msg = {
		.uptime_ms = uptime_ms,
	};

	return zbus_chan_pub(&button_event_chan, &msg, K_MSEC(100));
}

int button_input_publish_press_debounced(int64_t uptime_ms)
{
	if ((uptime_ms - last_published_press_ms) < BUTTON_INPUT_DEBOUNCE_MS) {
		LOG_WRN("Button ignored due to debounce");
		return -EALREADY;
	}

	int rc = button_input_publish_press(uptime_ms);

	if (!rc) {
		last_published_press_ms = uptime_ms;
	}

	return rc;
}

void button_input_reset_debounce(void)
{
	last_published_press_ms = -BUTTON_INPUT_DEBOUNCE_MS;
}

static void button_work_handler(struct k_work *work)
{
	int rc;

	ARG_UNUSED(work);

	rc = button_input_publish_press_debounced(k_uptime_get());
	if (rc) {
		LOG_WRN("Failed to publish button press: %d", rc);
	}
}

#if BUTTON_INPUT_HAS_GPIO
static void button_gpio_callback(const struct device *dev,
				 struct gpio_callback *cb, uint32_t pins)
{
	ARG_UNUSED(dev);
	ARG_UNUSED(cb);
	ARG_UNUSED(pins);

	k_work_submit(&button_work);
}
#endif

int button_input_init(void)
{
	k_work_init(&button_work, button_work_handler);

#if BUTTON_INPUT_HAS_GPIO
	int rc;

	if (!gpio_is_ready_dt(&button)) {
		LOG_ERR("Button sw0 is not ready");
		return -ENODEV;
	}

	rc = gpio_pin_configure_dt(&button, GPIO_INPUT);
	if (rc) {
		LOG_ERR("Failed to configure button sw0: %d", rc);
		return rc;
	}

	gpio_init_callback(&button_cb, button_gpio_callback, BIT(button.pin));
	rc = gpio_add_callback(button.port, &button_cb);
	if (rc) {
		LOG_ERR("Failed to register callback for sw0: %d", rc);
		return rc;
	}

	rc = gpio_pin_interrupt_configure_dt(&button, GPIO_INT_EDGE_TO_ACTIVE);
	if (rc) {
		LOG_ERR("Failed to configure interrupt for sw0: %d", rc);
		return rc;
	}

	LOG_INF("Button sw0 initialized");
#else
	LOG_WRN("sw0 alias unavailable; physical button disabled");
#endif

	return 0;
}
```

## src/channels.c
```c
/*
 * Copyright (c) 2026 Bikeshare Contributors
 *
 * SPDX-License-Identifier: Apache-2.0
 */

#include "channels.h"

ZBUS_CHAN_DEFINE(button_event_chan,
		 struct bike_button_event_msg,
		 NULL,
		 NULL,
		 ZBUS_OBSERVERS_EMPTY,
		 ZBUS_MSG_INIT(0));

ZBUS_CHAN_DEFINE(backend_command_chan,
		 struct bike_backend_command_msg,
		 NULL,
		 NULL,
		 ZBUS_OBSERVERS_EMPTY,
		 ZBUS_MSG_INIT(0));

ZBUS_CHAN_DEFINE(bike_state_chan,
		 struct bike_state_msg,
		 NULL,
		 NULL,
		 ZBUS_OBSERVERS_EMPTY,
		 ZBUS_MSG_INIT(.state = BIKE_STATE_UNREGISTERED));

ZBUS_CHAN_DEFINE(telemetry_sample_chan,
		 struct telemetry_sample_msg,
		 NULL,
		 NULL,
		 ZBUS_OBSERVERS_EMPTY,
		 ZBUS_MSG_INIT(0));
```
